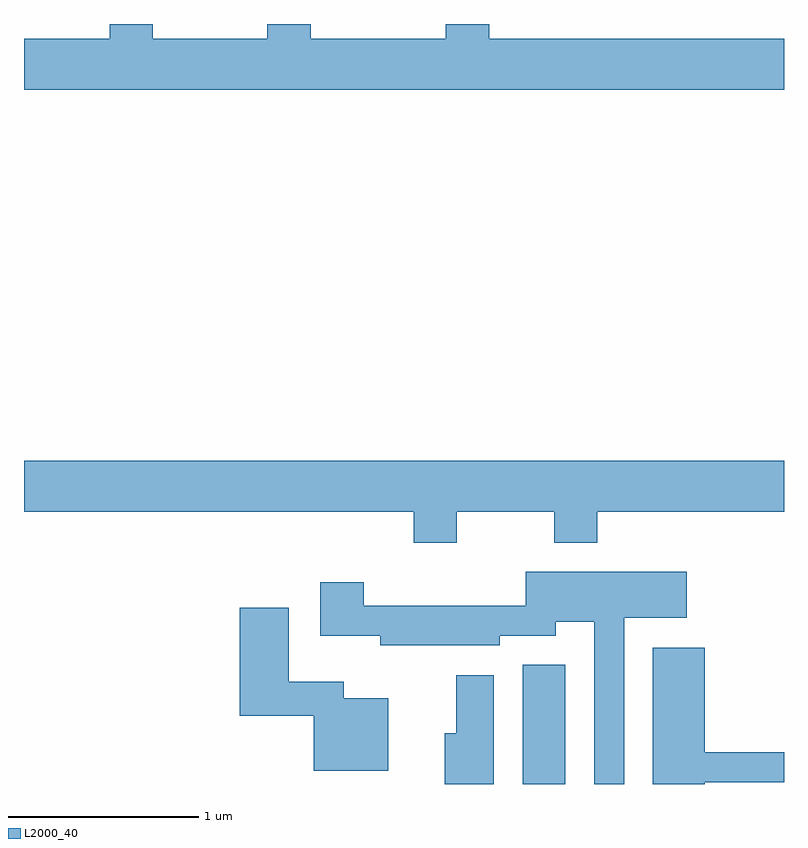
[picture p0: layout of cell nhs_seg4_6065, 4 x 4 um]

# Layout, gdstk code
import gdstk
lib = gdstk.Library(unit=1e-6, precision=1e-09)
def R(c, l, rs):  # rectangles x0, y0, x1, y1
    for r in rs: c.add(gdstk.rectangle(r[:2], r[2:], *l))
def P(c, l, *ps):  # polygons
    for p in ps: c.add(gdstk.Polygon(p, *l))
L2000_40 = (2000, 40)

nhs_seg4_6065 = lib.new_cell('nhs_seg4_6065')
R(nhs_seg4_6065, L2000_40, [(366.236,1279.982,366.459,1280.609)])
P(nhs_seg4_6065, L2000_40, [(367.611,1283.904),(366.059,1283.904),(366.059,1283.982),(365.831,1283.982),(365.831,1283.904),(365.119,1283.904),(365.119,1283.982),(364.891,1283.982),(364.891,1283.904),(364.289,1283.904),(364.289,1283.982),(364.061,1283.982),(364.061,1283.904),(363.611,1283.904),(363.611,1283.636),(367.611,1283.636)],
  [(365.889,1281.416),(366.401,1281.416),(366.401,1281.251),(366.629,1281.251),(366.629,1281.416),(367.611,1281.416),(367.611,1281.684),(363.611,1281.684),(363.611,1281.416),(365.661,1281.416),(365.661,1281.251),(365.889,1281.251)],
  [(366.769,1280.856),(367.099,1280.856),(367.099,1281.099),(366.251,1281.099),(366.251,1280.919),(365.399,1280.919),(365.399,1281.044),(365.171,1281.044),(365.171,1280.761),(365.486,1280.761),(365.486,1280.711),(366.114,1280.711),(366.114,1280.761),(366.409,1280.761),(366.409,1280.836),(366.611,1280.836),(366.611,1279.982),(366.769,1279.982)],
  [(365.529,1280.434),(365.294,1280.434),(365.294,1280.519),(365.004,1280.519),(365.004,1280.909),(364.746,1280.909),(364.746,1280.341),(365.136,1280.341),(365.136,1280.051),(365.529,1280.051)],
  [(367.194,1279.991),(367.611,1279.991),(367.611,1280.149),(367.194,1280.149),(367.194,1280.699),(366.921,1280.699),(366.921,1279.982),(367.194,1279.982)],
  [(366.084,1280.554),(365.886,1280.554),(365.886,1280.249),(365.826,1280.249),(365.826,1279.982),(366.084,1279.982)])

lib.write_gds('nhs_seg4_6065.gds')
